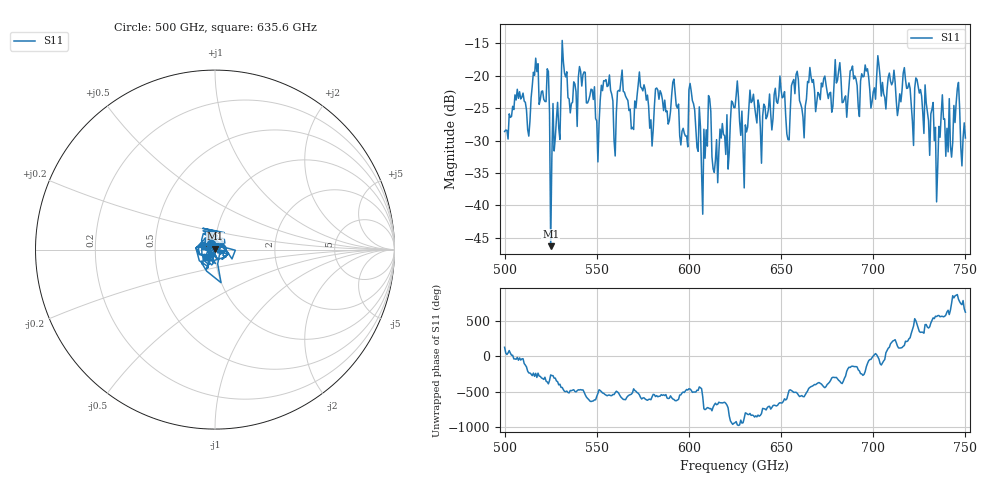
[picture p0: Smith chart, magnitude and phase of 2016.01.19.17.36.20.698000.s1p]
!Created with skrf (http://scikit-rf.org).
# GHz S RI R 50.0
!freq ReS11 ImS11
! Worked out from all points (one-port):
!   401 points, 500 GHz to 750 GHz, reference 50 ohm
!   lowest |S11| = -46.3 dB at 525 GHz (marker M1), VSWR 1.01, Z = 49.9 + j0.479 ohm
!   |S11| at or under -10 dB: start of sweep to end of sweep
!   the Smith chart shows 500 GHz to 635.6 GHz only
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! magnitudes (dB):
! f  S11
! 500 GHz  -28.6
! 513.1 GHz  -29.3
! 516.9 GHz  -17.3
! 525 GHz  -46.3
! 526.2 GHz  -24.3
! 531.2 GHz  -14.5
! 550.6 GHz  -33.3
! 562.5 GHz  -22.4
! 568.8 GHz  -28.2
! 573.8 GHz  -21.7
! 579.4 GHz  -26.8
! 593.8 GHz  -25.0
! 598.1 GHz  -29.3
! 601.2 GHz  -22.4
! 608.1 GHz  -28.2
! 610.6 GHz  -23.1
! 614.4 GHz  -33.0
! 625 GHz  -24.9
! 630.6 GHz  -27.6
! 633.8 GHz  -24.1
! 650.6 GHz  -23.4
! 653.8 GHz  -29.9
! 656.2 GHz  -21.0
! 687.5 GHz  -19.2
! 718.8 GHz  -21.9
! 734.4 GHz  -39.5
! 745 GHz  -24.2
! 750 GHz  -29.6
